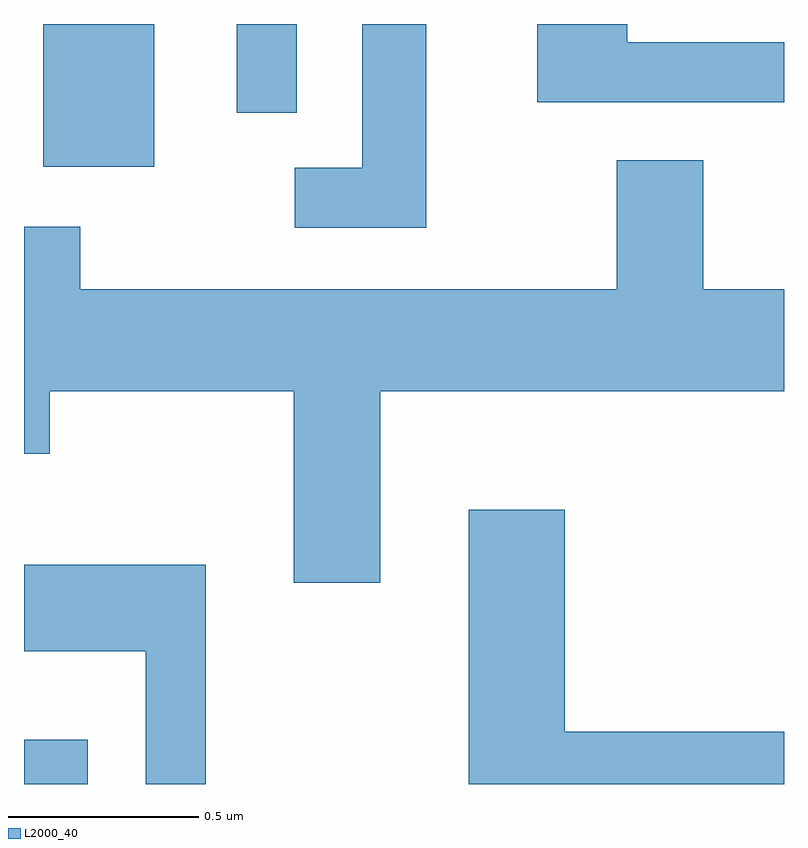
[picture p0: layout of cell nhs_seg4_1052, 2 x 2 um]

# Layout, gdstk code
import gdstk
lib = gdstk.Library(unit=1e-6, precision=1e-09)
def R(c, l, rs):  # rectangles x0, y0, x1, y1
    for r in rs: c.add(gdstk.rectangle(r[:2], r[2:], *l))
def P(c, l, *ps):  # polygons
    for p in ps: c.add(gdstk.Polygon(p, *l))
L2000_40 = (2000, 40)

nhs_seg4_1052 = lib.new_cell('nhs_seg4_1052')
R(nhs_seg4_1052, L2000_40, [(192.611,1346.982,192.779,1347.099), (192.661,1348.606,192.954,1348.982), (193.171,1348.748,193.329,1348.982)])
P(nhs_seg4_1052, L2000_40, [(194.611,1348.934),(194.199,1348.934),(194.199,1348.982),(193.961,1348.982),(193.961,1348.776),(194.611,1348.776)],
  [(193.669,1348.982),(193.501,1348.982),(193.501,1348.604),(193.323,1348.604),(193.323,1348.446),(193.669,1348.446)],
  [(193.549,1348.016),(194.611,1348.016),(194.611,1348.284),(194.399,1348.284),(194.399,1348.624),(194.171,1348.624),(194.171,1348.284),(192.759,1348.284),(192.759,1348.449),(192.611,1348.449),(192.611,1347.851),(192.679,1347.851),(192.679,1348.016),(193.321,1348.016),(193.321,1347.511),(193.549,1347.511)],
  [(194.611,1347.119),(194.034,1347.119),(194.034,1347.704),(193.781,1347.704),(193.781,1346.982),(194.611,1346.982)],
  [(193.089,1347.559),(192.611,1347.559),(192.611,1347.331),(192.931,1347.331),(192.931,1346.982),(193.089,1346.982)])

lib.write_gds('nhs_seg4_1052.gds')
